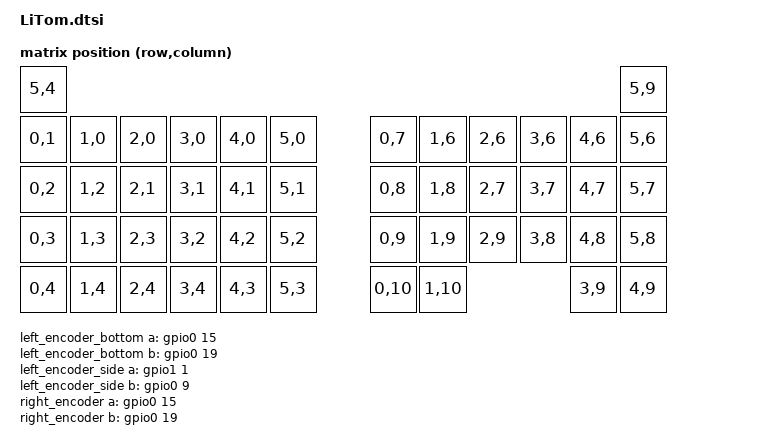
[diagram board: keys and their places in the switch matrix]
#include <dt-bindings/gpio/gpio.h>
#include <dt-bindings/zmk/matrix_transform.h>
#include <physical_layouts.dtsi>

/* D16 / P0.31 / BAT / AIN7 */
#define P0_31_GPIOS(flags) <&gpio0 31 flags>
#define P0_31_PSEL(fun) NRF_PSEL(fun, 0, 31)
#define XIAO_D16_ADC_CHANNEL <&adc 7>

#define XIAO_D0_ADC_CHANNEL <&adc 0>
#define BATTERY_CHANNEL XIAO_D0_ADC_CHANNEL

/ {
    chosen {
        zmk,battery = &vbatt;
    };

    default_layout: default_layout {
        compatible = "zmk,physical-layout";
        display-name = "default";
        transform = <&default_transform>;
        kscan = <&kscan0>;

        keys  //                     w   h    x    y     rot    rx    ry
            = <&key_physical_attrs 100 100    0    0       0     0     0>
            , <&key_physical_attrs 100 100 1200    0       0     0     0>

            , <&key_physical_attrs 100 100    0  100       0     0     0>
            , <&key_physical_attrs 100 100  100  100       0     0     0>
            , <&key_physical_attrs 100 100  200  100       0     0     0>
            , <&key_physical_attrs 100 100  300  100       0     0     0>
            , <&key_physical_attrs 100 100  400  100       0     0     0>
            , <&key_physical_attrs 100 100  500  100       0     0     0>
            , <&key_physical_attrs 100 100  700  100       0     0     0>
            , <&key_physical_attrs 100 100  800  100       0     0     0>
            , <&key_physical_attrs 100 100  900  100       0     0     0>
            , <&key_physical_attrs 100 100 1000  100       0     0     0>
            , <&key_physical_attrs 100 100 1100  100       0     0     0>
            , <&key_physical_attrs 100 100 1200  100       0     0     0>

            , <&key_physical_attrs 100 100    0  200       0     0     0>
            , <&key_physical_attrs 100 100  100  200       0     0     0>
            , <&key_physical_attrs 100 100  200  200       0     0     0>
            , <&key_physical_attrs 100 100  300  200       0     0     0>
            , <&key_physical_attrs 100 100  400  200       0     0     0>
            , <&key_physical_attrs 100 100  500  200       0     0     0>
            , <&key_physical_attrs 100 100  700  200       0     0     0>
            , <&key_physical_attrs 100 100  800  200       0     0     0>
            , <&key_physical_attrs 100 100  900  200       0     0     0>
            , <&key_physical_attrs 100 100 1000  200       0     0     0>
            , <&key_physical_attrs 100 100 1100  200       0     0     0>
            , <&key_physical_attrs 100 100 1200  200       0     0     0>

            , <&key_physical_attrs 100 100    0  300       0     0     0>
            , <&key_physical_attrs 100 100  100  300       0     0     0>
            , <&key_physical_attrs 100 100  200  300       0     0     0>
            , <&key_physical_attrs 100 100  300  300       0     0     0>
            , <&key_physical_attrs 100 100  400  300       0     0     0>
            , <&key_physical_attrs 100 100  500  300       0     0     0>
            , <&key_physical_attrs 100 100  700  300       0     0     0>
            , <&key_physical_attrs 100 100  800  300       0     0     0>
            , <&key_physical_attrs 100 100  900  300       0     0     0>
            , <&key_physical_attrs 100 100 1000  300       0     0     0>
            , <&key_physical_attrs 100 100 1100  300       0     0     0>
            , <&key_physical_attrs 100 100 1200  300       0     0     0>

            , <&key_physical_attrs 100 100    0  400       0     0     0>
            , <&key_physical_attrs 100 100  100  400       0     0     0>
            , <&key_physical_attrs 100 100  200  400       0     0     0>
            , <&key_physical_attrs 100 100  300  400       0     0     0>
            , <&key_physical_attrs 100 100  400  400       0     0     0>
            , <&key_physical_attrs 100 100  500  400       0     0     0>
            , <&key_physical_attrs 100 100  700  400       0     0     0>
            , <&key_physical_attrs 100 100  800  400       0     0     0>
            , <&key_physical_attrs 100 100 1100  400       0     0     0>
            , <&key_physical_attrs 100 100 1200  400       0     0     0>
            ;
    };

    default_transform: default_transform {
        compatible = "zmk,matrix-transform";
        columns = <11>;
        rows = <6>;
        map = <
            RC(5,4)                                                                                         RC(5,9)
            RC(0,1) RC(1,0) RC(2,0) RC(3,0) RC(4,0) RC(5,0)      RC(0,7)  RC(1,6)  RC(2,6)  RC(3,6) RC(4,6) RC(5,6)
            RC(0,2) RC(1,2) RC(2,1) RC(3,1) RC(4,1) RC(5,1)      RC(0,8)  RC(1,8)  RC(2,7)  RC(3,7) RC(4,7) RC(5,7)
            RC(0,3) RC(1,3) RC(2,3) RC(3,2) RC(4,2) RC(5,2)      RC(0,9)  RC(1,9)  RC(2,9)  RC(3,8) RC(4,8) RC(5,8)
            RC(0,4) RC(1,4) RC(2,4) RC(3,4) RC(4,3) RC(5,3)      RC(0,10) RC(1,10)                  RC(3,9) RC(4,9)
        >;
    };

    left_encoder_bottom: left_encoder_bottom {
        compatible = "alps,ec11";
        a-gpios = <&gpio0 15 (GPIO_ACTIVE_HIGH | GPIO_PULL_UP)>;
        b-gpios = <&gpio0 19 (GPIO_ACTIVE_HIGH | GPIO_PULL_UP)>;
        steps = <12>;
        status = "disabled";
    };

    left_encoder_side: left_encoder_side {
        compatible = "alps,ec11";
        a-gpios = <&gpio1 1 (GPIO_ACTIVE_HIGH | GPIO_PULL_UP)>;
        b-gpios = <&gpio0 9 (GPIO_ACTIVE_HIGH | GPIO_PULL_UP)>;
        steps = <24>;
        status = "disabled";
    };

    right_encoder: right_encoder {
        compatible = "alps,ec11";
        a-gpios = <&gpio0 15 (GPIO_ACTIVE_HIGH | GPIO_PULL_UP)>;
        b-gpios = <&gpio0 19 (GPIO_ACTIVE_HIGH | GPIO_PULL_UP)>;
        steps = <12>;
        status = "disabled";
    };

    sensors: sensors {
        compatible = "zmk,keymap-sensors";
        sensors = <&left_encoder_bottom &left_encoder_side &right_encoder>;
        triggers-per-rotation = <10>;
    };

    vbatt: vbatt {
      compatible = "zmk,battery-voltage-divider";
      io-channels = BATTERY_CHANNEL;
      output-ohms = <470000>;
      full-ohms = <(1000000 + 470000)>;
      // Single AAA cell voltage after scaling the P0.02 / AIN0 divider reading back to pack voltage.
      mv-to-pct-thresholds = <900 1000 1100 1160 1220 1280 1340 1400 1460 1530 1600>;
   };
};

&adc {
  status = "okay";
};
